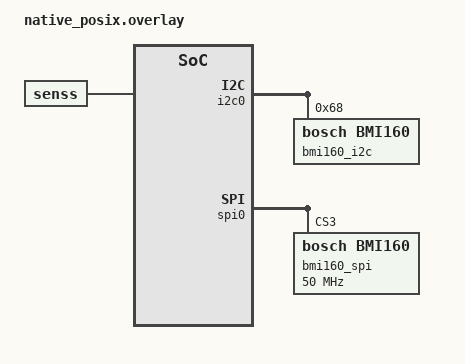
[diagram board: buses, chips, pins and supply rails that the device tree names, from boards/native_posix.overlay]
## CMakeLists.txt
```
# SPDX-License-Identifier: Apache-2.0

cmake_minimum_required(VERSION 3.20.0)

find_package(Zephyr REQUIRED HINTS $ENV{ZEPHYR_BASE})
project(senss)

zephyr_library_sources_ifdef(CONFIG_SENSS src/main.c)
```

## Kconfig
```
# Copyright (c) 2022 Intel Corporation
# SPDX-License-Identifier: Apache-2.0
#

source "Kconfig.zephyr"
source "subsys/senss/Kconfig"
```

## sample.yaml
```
sample:
  description: A sensor framework sample
  name: senss sample
common:
  tags: senss
  integration_platforms:
    - native_posix
  harness: console
  harness_config:
    type: multi_line
    regex:
      - "senss run successfully"
tests:
  sample.subsys.senss.simple:
    tags: senss
```

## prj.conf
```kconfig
CONFIG_LOG=y
CONFIG_ASSERT=y
```

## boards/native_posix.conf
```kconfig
#Enable BMI160 and BMI160 Emulator
CONFIG_BMI160_TRIGGER_NONE=y
CONFIG_EMUL_BMI160=y
CONFIG_SENSOR=y
```

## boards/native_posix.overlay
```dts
/*
 * Copyright (c) 2022 Intel Corporation
 *
 * SPDX-License-Identifier: Apache-2.0
 */

&i2c0 {
	bmi160_i2c: bmi@68 {
		compatible = "bosch,bmi160";
		reg = <0x68>;
	};
};

&spi0 {
	bmi160_spi: bmi@3 {
		compatible = "bosch,bmi160";
		spi-max-frequency = <50000000>;
		reg = <0x3>;
	};
};

/ {
	senss: senss-node {
		compatible = "zephyr,senss";
		status = "okay";

		base_accel: base-accel {
			compatible = "zephyr,senss-phy-3d-sensor";
			status = "okay";
			sensor-type = <0x73>;
			sensor-index = <0>;
			vendor = "VND";
			model = "Test";
			friendly-name = "Base Accelerometer Sensor";
			minimal-interval = <625>;
			rotation-matrix = <0 1 0
					   1 0 0
					   0 0 (-1)>;
			underlying-device = <&bmi160_i2c>;
		};

		lid_accel: lid-accel {
			compatible = "zephyr,senss-phy-3d-sensor";
			status = "okay";
			sensor-type = <0x73>;
			sensor-index = <1>;
			vendor = "VND";
			model = "Test";
			friendly-name = "Lid Accelerometer Sensor";
			minimal-interval = <625>;
			rotation-matrix = <1 0 0
					   0 1 0
					   0 0 (-1)>;
			underlying-device = <&bmi160_spi>;
		};

		hinge_angle: hinge-angle {
			compatible = "zephyr,senss-hinge-angle";
			status = "okay";
			sensor-type = <0x20B>;
			sensor-index = <0>;
			vendor = "VND";
			model = "Test";
			friendly-name = "Hinge Angle Sensor";
			reporters = <&base_accel &lid_accel>;
			minimal-interval = <100000>;
		};
	};
};
```

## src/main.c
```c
/*
 * Copyright (c) 2022 Intel Corporation.
 *
 * SPDX-License-Identifier: Apache-2.0
 */

#include <zephyr/device.h>
#include <zephyr/devicetree.h>
#include <zephyr/logging/log.h>
#include <zephyr/sys_clock.h>
#include <zephyr/senss/senss.h>

LOG_MODULE_REGISTER(main, LOG_LEVEL_INF);

static int acc_data_event_callback(int handle, void *buf, int size, void *param)
{
	const struct senss_sensor_info *info = senss_get_sensor_info(handle);
	struct senss_sensor_value_3d_int32 *sample =
		(struct senss_sensor_value_3d_int32 *)buf;

	ARG_UNUSED(size);
	ARG_UNUSED(param);

	LOG_INF("Sensor %s data:\t x: %d, y: %d, z: %d", info->name,
			sample->readings[0].x,
			sample->readings[0].y,
			sample->readings[0].z);

	return 0;
}
#if 0
static int motion_detector_data_event_callback(int handle, void *buf, int size,
	void *param)
{
	const struct senss_sensor_info *info = senss_get_sensor_info(handle);
	struct senss_sensor_value_int32 *sample =
		(struct senss_sensor_value_int32 *)buf;

	ARG_UNUSED(size);
	ARG_UNUSED(param);

	LOG_INF("Sensor %s data:\t v: %d", info->name,
		sample->readings[0].v);

	return 0;
}

static int hinge_angle_data_event_callback(int handle, void *buf, int size,
	void *param)
{
	const struct senss_sensor_info *info = senss_get_sensor_info(handle);
	struct senss_sensor_value_int32 *sample =
		(struct senss_sensor_value_int32 *)buf;

	ARG_UNUSED(size);
	ARG_UNUSED(param);

	LOG_INF("Sensor %s data:\t v: %d", info->name,
		sample->readings[0].v);

	return 0;
}
#endif

void main(void)
{
	int base_acc;
	int ret;

	ret = senss_init();
	if (ret) {
		LOG_ERR("senss init error");
		return;
	}

	LOG_INF("senss run successfully");

	ret = senss_open_sensor(SENSS_SENSOR_TYPE_MOTION_ACCELEROMETER_3D, 0,
			&base_acc);
	if (ret) {
		LOG_ERR("senss_open_sensor, type:0x%x index:0 error",
			SENSS_SENSOR_TYPE_MOTION_ACCELEROMETER_3D);
	} else {
		senss_register_data_event_callback(base_acc,
				acc_data_event_callback, NULL);

		ret = senss_set_interval(base_acc, 100 * USEC_PER_MSEC);
		if (ret) {
			LOG_ERR("base_acc senss_set_interval error\n");
		}
		/* set report latency as 2s*/
		ret = senss_set_report_latency(base_acc, 2 * USEC_PER_MSEC * MSEC_PER_SEC);
		if (ret) {
			LOG_ERR("base_acc senss_set_report_latency error\n");
		}
	}
#if 0
	const struct senss_sensor_info *info = NULL;
	int lid_acc;
	int motion_detector;
	int hinge_angle;

	ret = senss_open_sensor(SENSS_SENSOR_TYPE_MOTION_ACCELEROMETER_3D, 1,
			&lid_acc);
	if (ret) {
		LOG_ERR("senss_open_sensor, type:0x%x index:1 error",
			SENSS_SENSOR_TYPE_MOTION_ACCELEROMETER_3D);
	} else {
		senss_register_data_event_callback(lid_acc,
				acc_data_event_callback, NULL);

		ret = senss_set_interval(lid_acc, 100 * USEC_PER_MSEC);
		if (ret) {
			LOG_ERR("lid_acc senss_set_interval error\n");
		}
	}

	ret = senss_open_sensor(SENSS_SENSOR_TYPE_MOTION_MOTION_DETECTOR, 0,
		&motion_detector);
	if (ret) {
		LOG_ERR("senss_open_sensor, type:0x%x index:0 error",
			SENSS_SENSOR_TYPE_MOTION_MOTION_DETECTOR);
	} else {
		info = senss_get_sensor_info(motion_detector);
		senss_register_data_event_callback(motion_detector,
			motion_detector_data_event_callback, NULL);

		ret = senss_set_interval(motion_detector,
			info->minimal_interval);
		if (ret) {
			LOG_ERR("motion_detector senss_set_interval error\n");
		}
	}

	ret = senss_open_sensor(SENSS_SENSOR_TYPE_MOTION_HINGE_ANGLE, 0,
		&hinge_angle);
	if (ret) {
		LOG_ERR("senss_open_sensor, type:0x%x index:0 error",
			SENSS_SENSOR_TYPE_MOTION_HINGE_ANGLE);
	} else {
		info = senss_get_sensor_info(hinge_angle);
		senss_register_data_event_callback(hinge_angle,
			hinge_angle_data_event_callback, NULL);

		ret = senss_set_interval(hinge_angle, info->minimal_interval);
		if (ret) {
			LOG_ERR("hinge_angle senss_set_interval error\n");
		}
	}
#endif
}
```
